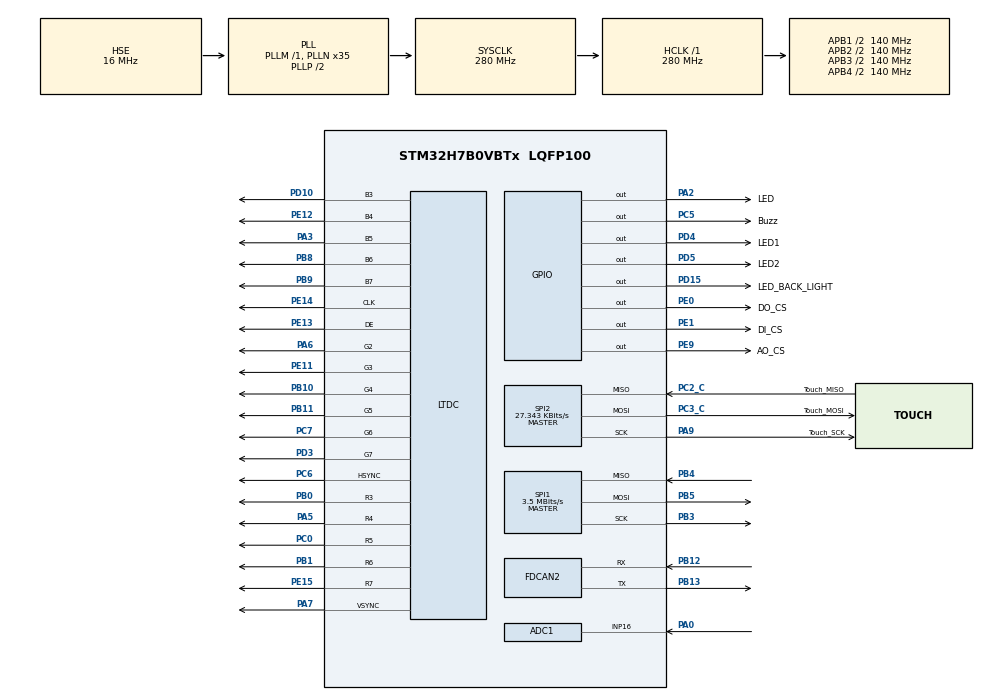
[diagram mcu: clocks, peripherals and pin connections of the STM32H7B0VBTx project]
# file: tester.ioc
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ADC1.Channel-2\#ChannelRegularConversion=ADC_CHANNEL_16
ADC1.ClockPrescaler=ADC_CLOCK_ASYNC_DIV1
ADC1.ContinuousConvMode=DISABLE
ADC1.ConversionDataManagement=ADC_CONVERSIONDATA_DR
ADC1.NbrOfConversion=1
ADC1.NbrOfConversionFlag=1
ADC1.OffsetNumber-2\#ChannelRegularConversion=ADC_OFFSET_NONE
ADC1.OffsetSignedSaturation-2\#ChannelRegularConversion=DISABLE
ADC1.Rank-2\#ChannelRegularConversion=1
ADC1.SamplingTime-2\#ChannelRegularConversion=ADC_SAMPLETIME_2CYCLES_5
ADC1.master=1
CORTEX_M7.BaseAddress-Cortex_Memory_Protection_Unit_Region0_Settings=0x90000000
CORTEX_M7.CPU_DCache=Disabled
CORTEX_M7.CPU_ICache=Disabled
CORTEX_M7.DisableExec-Cortex_Memory_Protection_Unit_Region0_Settings=MPU_INSTRUCTION_ACCESS_DISABLE
CORTEX_M7.Enable-Cortex_Memory_Protection_Unit_Region0_Settings=MPU_REGION_ENABLE
CORTEX_M7.Enable-Cortex_Memory_Protection_Unit_Region1_Settings=__NULL
CORTEX_M7.IsBufferable-Cortex_Memory_Protection_Unit_Region0_Settings=MPU_ACCESS_BUFFERABLE
CORTEX_M7.IsCacheable-Cortex_Memory_Protection_Unit_Region0_Settings=MPU_ACCESS_CACHEABLE
CORTEX_M7.MPU_Control=__NULL
CORTEX_M7.Size-Cortex_Memory_Protection_Unit_Region0_Settings=MPU_REGION_SIZE_8MB
DMA2D.ColorMode=DMA2D_OUTPUT_RGB565
DMA2D.InputColorModeForeground=DMA2D_INPUT_RGB565
DMA2D.Mode=DMA2D_M2M
FDCAN2.CalculateBaudRateNominal=13333
FDCAN2.CalculateTimeBitNominal=75000
FDCAN2.CalculateTimeQuantumNominal=6250.0
FDCAN2.NominalPrescaler=100
FDCAN2.NominalTimeSeg1=8
FDCAN2.NominalTimeSeg2=3
FDCAN2.RxFifo0ElmtsNbr=1
FDCAN2.TxFifoQueueElmtsNbr=1
LTDC.ActiveH=480
LTDC.ActiveW=800
LTDC.Alpha_L0=255
LTDC.ImageHeight_L0=100
LTDC.ImageWidth_L0=100
LTDC.Layers=0
LTDC.PixelFormat_L0=LTDC_PIXEL_FORMAT_RGB565
LTDC.WindowX1_L0=100
LTDC.WindowY1_L0=100
Mcu.Family=STM32H7
Mcu.Name=STM32H7B0VBTx
Mcu.Package=LQFP100
NVIC.ADC_IRQn=true\:0\:0\:false\:false\:true\:true\:true\:true
NVIC.FDCAN2_IT0_IRQn=true\:0\:0\:false\:false\:true\:true\:true\:true
NVIC.PriorityGroup=NVIC_PRIORITYGROUP_4
NVIC.SPI1_IRQn=true\:0\:0\:false\:false\:true\:true\:true\:true
NVIC.TIM1_BRK_IRQn=true\:0\:0\:false\:false\:true\:true\:true\:true
NVIC.TIM1_UP_IRQn=true\:0\:0\:false\:false\:true\:true\:true\:true
PA0.Mode=IN16-Single-Ended
PA0.Signal=ADC1_INP16
PA1.Signal=LTDC_R2
PA13.Mode=Serial_Wire
PA13.Signal=DEBUG_JTMS-SWDIO
PA14.Mode=Serial_Wire
PA14.Signal=DEBUG_JTCK-SWCLK
PA2.GPIO_Label=LED
PA2.Signal=GPIO_Output
PA3.Mode=RGB565
PA3.Signal=LTDC_B5
PA5.Mode=RGB565
PA5.Signal=LTDC_R4
PA6.Mode=RGB565
PA6.Signal=LTDC_G2
PA7.Mode=RGB565
PA7.Signal=LTDC_VSYNC
PA9.GPIO_Label=Touch_SCK
PA9.Mode=Full_Duplex_Master
PA9.Signal=SPI2_SCK
PB0.Mode=RGB565
PB0.Signal=LTDC_R3
PB1.Mode=RGB565
PB1.Signal=LTDC_R6
PB10.Mode=RGB565
PB10.Signal=LTDC_G4
PB11.Mode=RGB565
PB11.Signal=LTDC_G5
PB12.Mode=FDCAN_Activate
PB12.Signal=FDCAN2_RX
PB13.Mode=FDCAN_Activate
PB13.Signal=FDCAN2_TX
PB2.Signal=OCTOSPIM_P1_CLK
PB3.Mode=Full_Duplex_Master
PB3.Signal=SPI1_SCK
PB4.Mode=Full_Duplex_Master
PB4.Signal=SPI1_MISO
PB5.Mode=Full_Duplex_Master
PB5.Signal=SPI1_MOSI
PB6.Signal=OCTOSPIM_P1_NCS
PB8.Mode=RGB565
PB8.Signal=LTDC_B6
PB9.Mode=RGB565
PB9.Signal=LTDC_B7
PC0.Mode=RGB565
PC0.Signal=LTDC_R5
PC2_C.GPIO_Label=Touch_MISO
PC2_C.Mode=Full_Duplex_Master
PC2_C.Signal=SPI2_MISO
PC3_C.GPIO_Label=Touch_MOSI
PC3_C.Mode=Full_Duplex_Master
PC3_C.Signal=SPI2_MOSI
PC5.GPIO_Label=Buzz
PC5.Signal=GPIO_Output
PC6.Mode=RGB565
PC6.Signal=LTDC_HSYNC
PC7.Mode=RGB565
PC7.Signal=LTDC_G6
PD10.Mode=RGB565
PD10.Signal=LTDC_B3
PD11.Signal=OCTOSPIM_P1_IO0
PD12.Signal=OCTOSPIM_P1_IO1
PD13.Signal=OCTOSPIM_P1_IO3
PD15.GPIO_Label=LED_BACK_LIGHT
PD15.Signal=GPIO_Output
PD3.Mode=RGB565
PD3.Signal=LTDC_G7
PD4.GPIO_Label=LED1
PD4.Signal=GPIO_Output
PD5.GPIO_Label=LED2
PD5.Signal=GPIO_Output
PD6.Signal=LTDC_B2
PE0.GPIO_Label=DO_CS
PE0.Signal=GPIO_Output
PE1.GPIO_Label=DI_CS
PE1.Signal=GPIO_Output
PE11.Mode=RGB565
PE11.Signal=LTDC_G3
PE12.Mode=RGB565
PE12.Signal=LTDC_B4
PE13.Mode=RGB565
PE13.Signal=LTDC_DE
PE14.Mode=RGB565
PE14.Signal=LTDC_CLK
PE15.Mode=RGB565
PE15.Signal=LTDC_R7
PE2.Signal=OCTOSPIM_P1_IO2
PE9.GPIO_Label=AO_CS
PE9.Signal=GPIO_Output
PH0-OSC_IN.Mode=HSE-External-Oscillator
PH0-OSC_IN.Signal=RCC_OSC_IN
PH1-OSC_OUT.Mode=HSE-External-Oscillator
PH1-OSC_OUT.Signal=RCC_OSC_OUT
ProjectManager.HeapSize=0x200
ProjectManager.StackSize=0x800
ProjectManager.TargetToolchain=STM32CubeIDE
RCC.ADCFreq_Value=42666666.666666664
RCC.APB1Freq_Value=140000000
RCC.APB2Freq_Value=140000000
RCC.APB3Freq_Value=140000000
RCC.APB4Freq_Value=140000000
RCC.CDPPRE=RCC_APB3_DIV2
RCC.CDPPRE1=RCC_APB1_DIV2
RCC.CDPPRE2=RCC_APB2_DIV2
RCC.CortexFreq_Value=280000000
RCC.DIVM1=1
RCC.DIVM2=1
RCC.DIVM3=1
RCC.DIVN1=35
RCC.DIVN2=8
RCC.DIVN3=25
RCC.DIVP2=3
RCC.DIVQ1=80
RCC.DIVR3=16
RCC.FDCANCLockSelection=RCC_FDCANCLKSOURCE_HSE
RCC.HCLKFreq_Value=280000000
RCC.HSE_VALUE=16000000
RCC.PLL2FRACN=0
RCC.PLL3FRACN=0
RCC.PLLFRACN=0
RCC.PLLSourceVirtual=RCC_PLLSOURCE_HSE
RCC.SRDPPRE=RCC_APB4_DIV2
RCC.SYSCLKFreq_VALUE=280000000
RCC.SYSCLKSource=RCC_SYSCLKSOURCE_PLLCLK
RCC.USBFreq_Value=7000000
SPI1.BaudRatePrescaler=SPI_BAUDRATEPRESCALER_2
SPI1.CalculateBaudRate=3.5 MBits/s
SPI1.DataSize=SPI_DATASIZE_8BIT
SPI1.Direction=SPI_DIRECTION_2LINES
SPI1.FirstBit=SPI_FIRSTBIT_MSB
SPI1.Mode=SPI_MODE_MASTER
SPI1.VirtualType=VM_MASTER
SPI2.BaudRatePrescaler=SPI_BAUDRATEPRESCALER_256
SPI2.CalculateBaudRate=27.343 KBits/s
SPI2.DataSize=SPI_DATASIZE_8BIT
SPI2.Direction=SPI_DIRECTION_2LINES
SPI2.Mode=SPI_MODE_MASTER
SPI2.VirtualType=VM_MASTER
TIM1.Period=13999
TIM1.Prescaler=19
VP_DMA2D_VS_DMA2D.Mode=DMA2D_Activate
VP_TIM1_VS_ClockSourceINT.Mode=Internal
board=custom

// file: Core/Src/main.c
/* USER CODE BEGIN Header */
/**
 ******************************************************************************
 * @file           : main.c
 * @brief          : Main program body
 ******************************************************************************
 * @attention
 *
 * Copyright (c) 2024 STMicroelectronics.
 * All rights reserved.
 *
 * This software is licensed under terms that can be found in the LICENSE file
 * in the root directory of this software component.
 * If no LICENSE file comes with this software, it is provided AS-IS.
 *
 ******************************************************************************
 */
/* USER CODE END Header */
#include "main.h"
#include "adc.h"
#include "dma2d.h"
#include "fdcan.h"
#include "ltdc.h"
#include "spi.h"
#include "tim.h"
#include "gpio.h"

/* USER CODE BEGIN Includes */
#include <stdio.h>
#include <stdlib.h>
#include <../../LVGL/lvgl.h>
#include <../../Touch/XPT2046_Touchscreen.h>
#include "define.h"

#include "../../GUI/lcd.h"
#include "../../GUI/mainScreen.h"
#include "../../GUI/homeScreen.h"
#include "../../GUI/analogScreen.h"
#include "../../GUI/images/locoPic.h"
#include "../../GUI/images/mapnaPic.h"
/* USER CODE END Includes */

/* USER CODE BEGIN PTD */
static lv_color_t buf_1[LVGL_buff_size];   /*Declare a buffer for 1/10 screen size*/

#define shuntCurrentGain 3.3/65535
double supplyCurrent24V;
uint16_t* LCD_MemoryAdd;
/////
static void my_flush_cb(lv_disp_drv_t * disp_drv, const lv_area_t * area, lv_color_t * color_p);
static void LCD_on_task(lv_task_t * task);
static void intro_page_task(lv_task_t * task);
static void lv_screen_update_task(lv_task_t * task);
static bool lvgl_touch_read(lv_indev_t * indev, lv_indev_data_t*data);
lv_indev_drv_t indev_drv;
lv_indev_t * indev_touchpad;
/////
TS_Point point;

// FDCAN2 Defines
FDCAN_TxHeaderTypeDef   TxHeader2;
FDCAN_RxHeaderTypeDef   RxHeader2;
uint8_t                 TxData2[8];
uint8_t                 RxData2[8];

/* USER CODE END PTD */

void SystemClock_Config(void);

int main(void)
{

  /* MCU Configuration--------------------------------------------------------*/

  /* Reset of all peripherals, Initializes the Flash interface and the Systick. */
  HAL_Init();

  /* Configure the system clock */
  SystemClock_Config();

  /* Initialize all configured peripherals */
  MX_GPIO_Init();
  MX_DMA2D_Init();
  MX_TIM1_Init();
  MX_FDCAN2_Init();
  MX_SPI2_Init();
  MX_LTDC_Init();
  MX_ADC1_Init();
  MX_SPI1_Init();
  /* USER CODE BEGIN 2 */

	///////////////////////////////////////////////////////////////////////////////////////////////////////////////
	//HAL_GPIO_WritePin(LED_BACK_LIGHT_GPIO_Port, LED_BACK_LIGHT_Pin, GPIO_PIN_SET);
	HAL_GPIO_WritePin(GPIOB, GPIO_PIN_13, GPIO_PIN_RESET);
	////////////////////////
	LCD_MemoryAdd = malloc(imageSize * sizeof(*LCD_MemoryAdd));
	memset(LCD_MemoryAdd, 0, imageSize * sizeof(*LCD_MemoryAdd));
	//LCD_MemoryAdd = 0x24010000;

	HAL_LTDC_SetAddress(&hltdc, LCD_MemoryAdd, 0);
	HAL_LTDC_SetWindowSize(&hltdc, DISPLAY_WIDTH, DISPLAY_HEIGHT, 0);
	hltdc.Init.TotalWidth = 850;
	HAL_LTDC_SetWindowPosition(&hltdc, 0, 0, 0);
	///////////////////////
	HAL_DMA2D_ConfigLayer(&hdma2d, 1);

	lv_init();
	static lv_disp_buf_t disp_buf;
	lv_disp_drv_t disp_drv;
	lv_disp_buf_init(&disp_buf, buf_1, NULL, LVGL_buff_size);
	lv_disp_drv_init(&disp_drv);
	disp_drv.hor_res = DISPLAY_WIDTH;
	disp_drv.ver_res = DISPLAY_HEIGHT;
	disp_drv.flush_cb = my_flush_cb;
	disp_drv.buffer = &disp_buf;
	lv_disp_drv_register(&disp_drv);
	///////////////////////////////////////////////////////////////////////////////////////////////////////////////
	lv_obj_clean(lv_scr_act());
	createMainScreen();
	createAnalogScreen();
	createHomeScreen();
	//lv_scr_load(getMainScreen().window);
	/////////////////////////////////////////////////////////////////////////
	LV_IMG_DECLARE(MAP30_small);
    lv_obj_t * image = lv_img_create(lv_scr_act(), NULL);
	lv_img_set_src(image, &MAP30_small);

	//LV_IMG_DECLARE(m24);
    //lv_obj_t * image1 = lv_img_create(lv_scr_act(), NULL);
	//lv_img_set_src(image1, &m24);
	/////////////////////////////////////////////////////////////////////////
    lv_indev_drv_init(&indev_drv);
    indev_drv.type = LV_INDEV_TYPE_POINTER;
    indev_drv.read_cb = lvgl_touch_read;
    indev_touchpad = lv_indev_drv_register(&indev_drv);
	//////////////////////
	lv_task_t* task0 = lv_task_create(LCD_on_task, 1, LV_TASK_PRIO_MID, 0);
	lv_task_t* task1 = lv_task_create(intro_page_task, 7000, LV_TASK_PRIO_MID, 0);
	lv_task_t* task2 = lv_task_create(lv_screen_update_task, 500, LV_TASK_PRIO_MID, 0);
	lv_task_once(task0);
	lv_task_once(task1);
	///////////////////////////////////////////////////////////////////////////////////////////////////////////////
	setScreenSize(800, 480);
	setRotation(3);
	setOffset(150,150);
	setThreshold(300);
	/////////////////////////////////////////////////////////////////////////////////////////////////////////////

		// Configure TX Header for FDCAN2
		TxHeader2.Identifier = 0x0019;
		TxHeader2.IdType = FDCAN_STANDARD_ID;
		//TxHeader2.TxFrameType = FDCAN_DATA_FRAME;
		TxHeader2.TxFrameType = FDCAN_REMOTE_FRAME;
		TxHeader2.DataLength = FDCAN_DLC_BYTES_8;
		TxHeader2.ErrorStateIndicator = FDCAN_ESI_ACTIVE;
		TxHeader2.BitRateSwitch = FDCAN_BRS_OFF;
		TxHeader2.FDFormat = FDCAN_CLASSIC_CAN;
		TxHeader2.TxEventFifoControl = FDCAN_NO_TX_EVENTS;
		TxHeader2.MessageMarker = 0;
		HAL_FDCAN_Start(&hfdcan2);

		//  FDCAN_FilterTypeDef sFilterConfig;
		//  sFilterConfig.FilterConfig = FDCAN_FILTER_DISABLE;
		//  HAL_FDCAN_ConfigFilter(&hfdcan2, &sFilterConfig);

		HAL_FDCAN_ActivateNotification(&hfdcan2, FDCAN_IT_RX_FIFO0_NEW_MESSAGE, 0);

	///////////////////////////////////////////////////////////////////////////////////////
	for(uint8_t i=0; i< 8; ++i )
	{
		TxData2[i] = 0x00;
	}
	//////////////////////////////////
	HAL_TIM_Base_Start_IT(&htim1);
	//////////////////////////////////
	HAL_GPIO_TogglePin(LED1_GPIO_Port, LED1_Pin);
	HAL_GPIO_TogglePin(LED2_GPIO_Port, LED2_Pin);
	HAL_GPIO_WritePin(Buzz_GPIO_Port, Buzz_Pin, GPIO_PIN_RESET);
	//////////////////////////////////
	HAL_GPIO_WritePin(DO_CS_GPIO_Port, DO_CS_Pin, GPIO_PIN_SET);
    //uint8_t outputBuffer[4] = {0x55,0x55,0x55,0x55};
	uint8_t outputBuffer[1] = {0x55};
	//////////////////////////////////
	HAL_GPIO_WritePin(DI_CS_GPIO_Port, DI_CS_Pin, GPIO_PIN_SET);
	//////////////////////////////////
	HAL_GPIO_WritePin(AO_CS_GPIO_Port, AO_CS_Pin, GPIO_PIN_SET);
	//////////////////////////////////

  /* USER CODE END 2 */

  /* Infinite loop */
	while (1)
	{

    /* USER CODE BEGIN 3 */
		lv_task_handler();
		HAL_GPIO_TogglePin(LED_GPIO_Port, LED_Pin);
		///
		HAL_GPIO_WritePin(DO_CS_GPIO_Port, DO_CS_Pin, GPIO_PIN_RESET);
		HAL_SPI_Transmit(&hspi1, outputBuffer, 1, 30);
		HAL_GPIO_WritePin(DO_CS_GPIO_Port, DO_CS_Pin, GPIO_PIN_SET);
		HAL_Delay(100);
		//HAL_Delay(100);

	}
  /* USER CODE END 3 */
}

void SystemClock_Config(void)
{
  RCC_OscInitTypeDef RCC_OscInitStruct = {0};
  RCC_ClkInitTypeDef RCC_ClkInitStruct = {0};

  /*AXI clock gating */
  RCC->CKGAENR = 0xFFFFFFFF;

  /** Supply configuration update enable
  */
  HAL_PWREx_ConfigSupply(PWR_LDO_SUPPLY);

  /** Configure the main internal regulator output voltage
  */
  __HAL_PWR_VOLTAGESCALING_CONFIG(PWR_REGULATOR_VOLTAGE_SCALE0);

  while(!__HAL_PWR_GET_FLAG(PWR_FLAG_VOSRDY)) {}

  /** Initializes the RCC Oscillators according to the specified parameters
  * in the RCC_OscInitTypeDef structure.
  */
  RCC_OscInitStruct.OscillatorType = RCC_OSCILLATORTYPE_HSE;
  RCC_OscInitStruct.HSEState = RCC_HSE_ON;
  RCC_OscInitStruct.PLL.PLLState = RCC_PLL_ON;
  RCC_OscInitStruct.PLL.PLLSource = RCC_PLLSOURCE_HSE;
  RCC_OscInitStruct.PLL.PLLM = 1;
  RCC_OscInitStruct.PLL.PLLN = 35;
  RCC_OscInitStruct.PLL.PLLP = 2;
  RCC_OscInitStruct.PLL.PLLQ = 80;
  RCC_OscInitStruct.PLL.PLLR = 2;
  RCC_OscInitStruct.PLL.PLLRGE = RCC_PLL1VCIRANGE_3;
  RCC_OscInitStruct.PLL.PLLVCOSEL = RCC_PLL1VCOWIDE;
  RCC_OscInitStruct.PLL.PLLFRACN = 0;
  if (HAL_RCC_OscConfig(&RCC_OscInitStruct) != HAL_OK)
  {
    Error_Handler();
  }

  /** Initializes the CPU, AHB and APB buses clocks
  */
  RCC_ClkInitStruct.ClockType = RCC_CLOCKTYPE_HCLK|RCC_CLOCKTYPE_SYSCLK
                              |RCC_CLOCKTYPE_PCLK1|RCC_CLOCKTYPE_PCLK2
                              |RCC_CLOCKTYPE_D3PCLK1|RCC_CLOCKTYPE_D1PCLK1;
  RCC_ClkInitStruct.SYSCLKSource = RCC_SYSCLKSOURCE_PLLCLK;
  RCC_ClkInitStruct.SYSCLKDivider = RCC_SYSCLK_DIV1;
  RCC_ClkInitStruct.AHBCLKDivider = RCC_HCLK_DIV1;
  RCC_ClkInitStruct.APB3CLKDivider = RCC_APB3_DIV2;
  RCC_ClkInitStruct.APB1CLKDivider = RCC_APB1_DIV2;
  RCC_ClkInitStruct.APB2CLKDivider = RCC_APB2_DIV2;
  RCC_ClkInitStruct.APB4CLKDivider = RCC_APB4_DIV2;

  if (HAL_RCC_ClockConfig(&RCC_ClkInitStruct, FLASH_LATENCY_6) != HAL_OK)
  {
    Error_Handler();
  }
}

/* USER CODE BEGIN 4 */
static void my_flush_cb(lv_disp_drv_t  *disp_drv, const lv_area_t * area, lv_color_t * color_p)
{
	//Set the drawing region
	int height = area->y2 - area->y1 + 1;
	int width = area->x2 - area->x1 + 1;

	//Write colour to each pixel

	uint8_t pixelSize = sizeof(*LCD_MemoryAdd)/sizeof(*color_p);
	uint32_t offset = (DISPLAY_WIDTH * area->y1 + area->x1)/pixelSize;
	uint32_t destinationAddress = LCD_MemoryAdd + offset; // final address;
	hdma2d.Instance->OOR = DISPLAY_WIDTH - width; // set row offset
	HAL_DMA2D_Start(&hdma2d , (uint32_t)color_p, destinationAddress, width, height);
	HAL_DMA2D_PollForTransfer(&hdma2d, 10); // wait for the transfer to complete

	lv_disp_flush_ready(disp_drv);
}

static bool lvgl_touch_read(lv_indev_t * indev, lv_indev_data_t*data)
{
	static lv_coord_t last_x = 0;
	static lv_coord_t last_y = 0;
	point = touchUpdate();
    if(getTouchFlag())
    {

		last_x = point.x;
		last_y = point.y;
    	data->state = LV_INDEV_STATE_PR;
    }
    else
    {
    	data->state = LV_INDEV_STATE_REL;
    }

	data->point.x = last_x;
	data->point.y = last_y;

	 return false;
}

static void lv_screen_update_task(lv_task_t* task)
{
	if(getAnalogScreen().testStartBtn == true)
	{
		lv_label_set_text_fmt(getAnalogScreen().analogData1, "Analog_1:     %03d",RxData2[0]);
	//	lv_label_set_text_fmt(getAnalogScreen().analogData2, "Analog_2:     %03d",RxData2[1]);
	//	lv_label_set_text_fmt(getAnalogScreen().analogData3, "Analog_3:     %03d",RxData2[2]);
	//	lv_label_set_text_fmt(getAnalogScreen().analogData4, "Analog_4:     %03d",RxData2[3]);
	//	lv_label_set_text_fmt(getAnalogScreen().analogData5, "Analog_5:     %03d",RxData2[4]);
	//	lv_label_set_text_fmt(getAnalogScreen().analogData6, "Analog_6:     %03d",RxData2[5]);
	//	lv_label_set_text_fmt(getAnalogScreen().analogData7, "Analog_7:     %03d",RxData2[6]);
	//	lv_label_set_text_fmt(getAnalogScreen().analogData8, "Analog_8:     %03d",RxData2[7]);
	}

}

static void LCD_on_task(lv_task_t* task)
{
	HAL_GPIO_WritePin(LED_BACK_LIGHT_GPIO_Port, LED_BACK_LIGHT_Pin, GPIO_PIN_SET);
}

static void intro_page_task(lv_task_t* task)
{
	lv_scr_load(getMainScreen().window);
}

void HAL_TIM_PeriodElapsedCallback(TIM_HandleTypeDef* htim)
{
	if(getAnalogScreen().testStartBtn == true)
	{
		HAL_FDCAN_AddMessageToTxFifoQ(&hfdcan2, &TxHeader2, TxData2);
		HAL_ADC_Start_IT(&hadc1);
	}

}

void HAL_FDCAN_RxFifo0Callback(FDCAN_HandleTypeDef *hfdcan, uint32_t RxFifo1ITs)
{
	if((RxFifo1ITs & FDCAN_IT_RX_FIFO0_NEW_MESSAGE) != RESET)
	{
		//Retreive Rx messages from RX FIFO0
		HAL_FDCAN_GetRxMessage(hfdcan, FDCAN_RX_FIFO0, &RxHeader2, RxData2);
		HAL_FDCAN_ActivateNotification(hfdcan, FDCAN_IT_RX_FIFO0_NEW_MESSAGE, 0);
	}
}

void  HAL_ADC_ConvCpltCallback(ADC_HandleTypeDef *hadc)
{
	uint16_t temp;
	temp = HAL_ADC_GetValue(&hadc1);
	supplyCurrent24V = (float)temp*shuntCurrentGain;
}
/* USER CODE END 4 */

void Error_Handler(void)
{
	__disable_irq();
	while (1)
	{
	}
}
